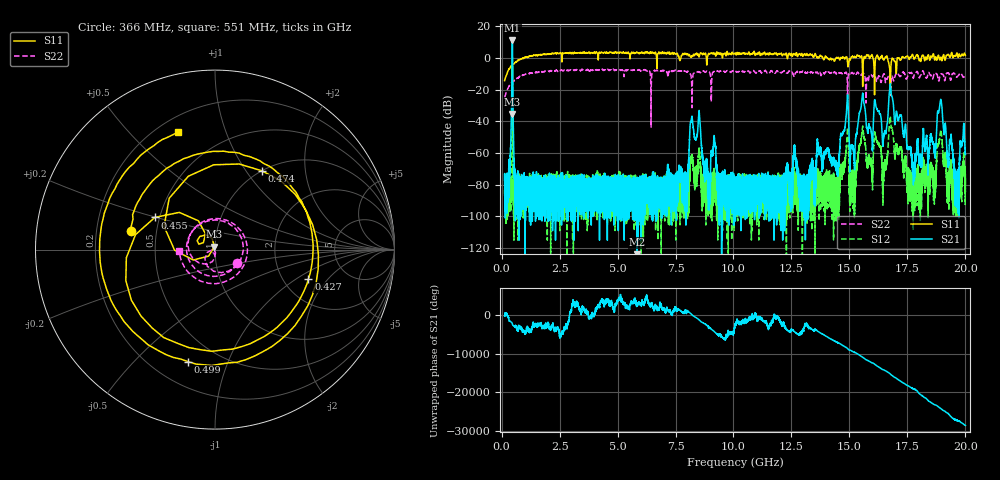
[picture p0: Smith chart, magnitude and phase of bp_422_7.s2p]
!Created with skrf (http://scikit-rf.org).
# GHz S RI R 50.0
!freq ReS11 ImS11 ReS21 ImS21 ReS12 ImS12 ReS22 ImS22
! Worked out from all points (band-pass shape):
!   20013 points, 130 MHz to 20 GHz, reference 50 ohm
!   highest |S21| = 11.08 dB at 464 MHz (marker M1); lowest = -178.6 dB at 5.836 GHz (marker M2)
!   |S21| within 3 dB of the highest: 455.5 MHz to 469.1 MHz (13.65 MHz wide, 2.95 % of centre)
!   lowest |S11| = -35.3 dB at 465 MHz (marker M3), VSWR 1.03, Z = 49.7 + j1.68 ohm
!   |S11| at or under -10 dB: start of sweep to 232.5 MHz; 16.07074 GHz to 16.09347 GHz (22.73 MHz wide, 0.141 % of centre); 16.74683 GHz to 16.77463 GHz (27.8 MHz wide, 0.166 % of centre) (the widest 3 of 5)
!   |S22| runs from -43.7 to -7.0 dB; largest |S21 - S12| = 3.6
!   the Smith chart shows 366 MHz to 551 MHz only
!   S11 on the Smith chart (normalised r, x): 366 MHz: 0.35, +0.10; 427 MHz: 2.74, -1.27; 455 MHz: 0.47, +0.20; 474 MHz: 1.00, +1.19; 499 MHz: 0.34, -0.73; 551 MHz: 0.28, +0.70
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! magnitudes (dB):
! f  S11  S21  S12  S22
! 130 MHz  -14.3  -77.5  -83.7  -25.1
! 366 MHz  -6.3  -64.6  -84.6  -16.9
! 427 MHz  -5.3  -34.4  -77.3  -15.7
! 455 MHz  -8.4  7.2  -38.7  -19.8
! 464 MHz  -23.7  11.1  -34.5  -32.3
! 465 MHz  -35.3  11.0  -34.6  -33.6
! 474 MHz  -5.8  -1.9  -47.0  -16.0
! 499 MHz  -3.9  -38.1  -85.0  -14.8
! 551 MHz  -3.3  -74.3  -87.4  -14.0
! 683 MHz  -1.7  -76.0  -79.1  -12.6
! 3.442 GHz  3.0  -77.8  -89.1  -7.5
! 5.836 GHz  3.7  -178.6  -85.4  -7.7
! 6.754 GHz  2.8  -93.5  -82.7  -8.0
! 7.947 GHz  2.8  -82.1  -96.8  -8.6
! 8.21 GHz  1.4  -36.9  -61.6  -29.6
! 10.06 GHz  3.1  -85.5  -77.2  -7.8
! 13.38 GHz  2.1  -65.5  -108.8  -9.0
! 16.69 GHz  -2.8  -28.0  -48.9  -10.9
! 17.78 GHz  -0.4  -73.6  -82.7  -11.5
! 18.9 GHz  -1.3  -29.9  -49.6  -11.4
! 19.61 GHz  2.0  -83.0  -76.6  -12.0
! 20 GHz  1.6  -60.8  -76.6  -10.4
